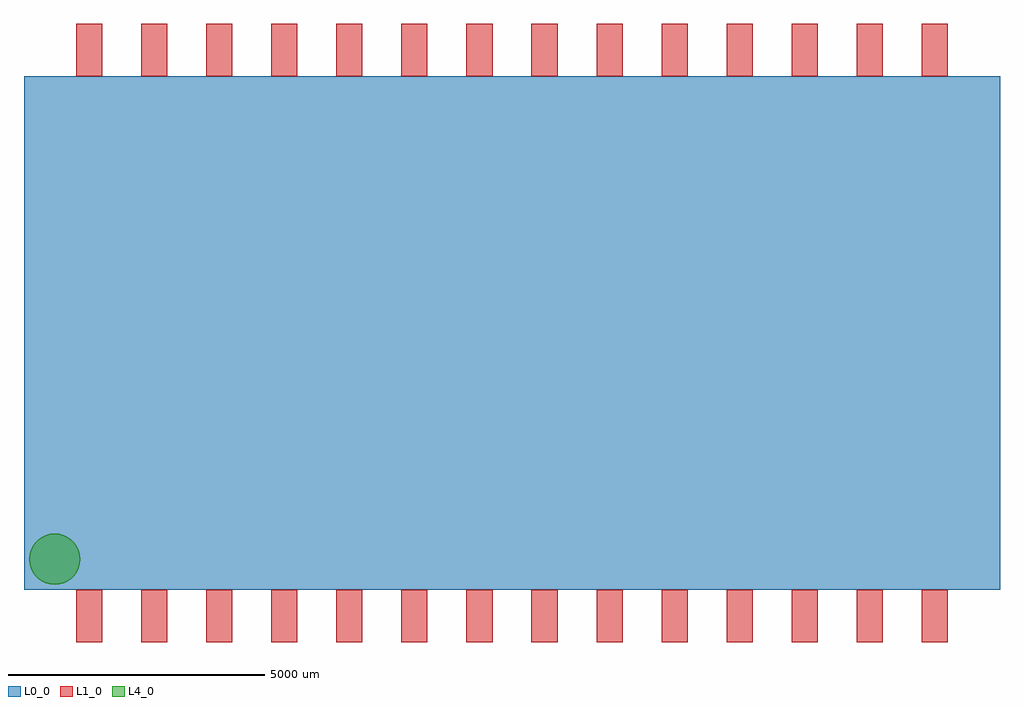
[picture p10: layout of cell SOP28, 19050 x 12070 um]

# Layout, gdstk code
import gdstk
lib = gdstk.Library(unit=1e-6, precision=1e-09)
def R(c, l, rs):  # rectangles x0, y0, x1, y1
    for r in rs: c.add(gdstk.rectangle(r[:2], r[2:], *l))
def A(c, l, x, y, w, h, nx, ny, dx, dy):  # array of equal rectangles
    R(c, l, [(x+i*dx, y+j*dy, x+i*dx+w, y+j*dy+h) for i in range(nx) for j in range(ny)])
def P(c, l, *ps):  # polygons
    for p in ps: c.add(gdstk.Polygon(p, *l))
L0_0 = (0, 0)
L1_0 = (1, 0)
L4_0 = (4, 0)
L99_1 = (99, 1)
L99_2 = (99, 2)
L99_3 = (99, 3)
L99_4 = (99, 4)
L99_5 = (99, 5)
L99_6 = (99, 6)
L99_7 = (99, 7)
L99_8 = (99, 8)
L99_9 = (99, 9)
L99_10 = (99, 10)
L99_11 = (99, 11)
L99_12 = (99, 12)
L99_13 = (99, 13)
L99_14 = (99, 14)
L99_15 = (99, 15)
L99_16 = (99, 16)
L99_17 = (99, 17)
L99_18 = (99, 18)
L99_19 = (99, 19)
L99_20 = (99, 20)
L99_21 = (99, 21)
L99_22 = (99, 22)
L99_23 = (99, 23)
L99_24 = (99, 24)
L99_25 = (99, 25)
L99_26 = (99, 26)
L99_27 = (99, 27)
L99_28 = (99, 28)

sop28 = lib.new_cell('SOP28')
R(sop28, L0_0, [(0,0,19050,10030)])
A(sop28, L1_0, 1015, -1020, 510, 1020, 14, 2, 1270, 11050)
P(sop28, L4_0, [(1100,600),(1092.404,513.176),(1069.846,428.99),(1033.013,350),(983.022,278.606),(921.394,216.978),(850,166.987),(771.01,130.154),(686.824,107.596),(600,100),(513.176,107.596),(428.99,130.154),(350,166.987),(278.606,216.978),(216.978,278.606),(166.987,350),(130.154,428.99),(107.596,513.176),(100,600),(107.596,686.824),(130.154,771.01),(166.987,850),(216.978,921.394),(278.606,983.022),(350,1033.013),(428.99,1069.846),(513.176,1092.404),(600,1100),(686.824,1092.404),(771.01,1069.846),(850,1033.013),(921.394,983.022),(983.022,921.394),(1033.013,850),(1069.846,771.01),(1092.404,686.824)])
sop28.add(gdstk.FlexPath([(1525,0),(1015,0)], 0, ends="round", simple_path=True, layer=99, datatype=1))  # L99_1
sop28.add(gdstk.FlexPath([(2795,0),(2285,0)], 0, ends="round", simple_path=True, layer=99, datatype=2))  # L99_2
sop28.add(gdstk.FlexPath([(4065,0),(3555,0)], 0, ends="round", simple_path=True, layer=99, datatype=3))  # L99_3
sop28.add(gdstk.FlexPath([(5335,0),(4825,0)], 0, ends="round", simple_path=True, layer=99, datatype=4))  # L99_4
sop28.add(gdstk.FlexPath([(6605,0),(6095,0)], 0, ends="round", simple_path=True, layer=99, datatype=5))  # L99_5
sop28.add(gdstk.FlexPath([(7875,0),(7365,0)], 0, ends="round", simple_path=True, layer=99, datatype=6))  # L99_6
sop28.add(gdstk.FlexPath([(9145,0),(8635,0)], 0, ends="round", simple_path=True, layer=99, datatype=7))  # L99_7
sop28.add(gdstk.FlexPath([(10415,0),(9905,0)], 0, ends="round", simple_path=True, layer=99, datatype=8))  # L99_8
sop28.add(gdstk.FlexPath([(11685,0),(11175,0)], 0, ends="round", simple_path=True, layer=99, datatype=9))  # L99_9
sop28.add(gdstk.FlexPath([(12955,0),(12445,0)], 0, ends="round", simple_path=True, layer=99, datatype=10))  # L99_10
sop28.add(gdstk.FlexPath([(14225,0),(13715,0)], 0, ends="round", simple_path=True, layer=99, datatype=11))  # L99_11
sop28.add(gdstk.FlexPath([(15495,0),(14985,0)], 0, ends="round", simple_path=True, layer=99, datatype=12))  # L99_12
sop28.add(gdstk.FlexPath([(16765,0),(16255,0)], 0, ends="round", simple_path=True, layer=99, datatype=13))  # L99_13
sop28.add(gdstk.FlexPath([(18035,0),(17525,0)], 0, ends="round", simple_path=True, layer=99, datatype=14))  # L99_14
sop28.add(gdstk.FlexPath([(1015,10030),(1525,10030)], 0, ends="round", simple_path=True, layer=99, datatype=28))  # L99_28
sop28.add(gdstk.FlexPath([(2285,10030),(2795,10030)], 0, ends="round", simple_path=True, layer=99, datatype=27))  # L99_27
sop28.add(gdstk.FlexPath([(3555,10030),(4065,10030)], 0, ends="round", simple_path=True, layer=99, datatype=26))  # L99_26
sop28.add(gdstk.FlexPath([(4825,10030),(5335,10030)], 0, ends="round", simple_path=True, layer=99, datatype=25))  # L99_25
sop28.add(gdstk.FlexPath([(6095,10030),(6605,10030)], 0, ends="round", simple_path=True, layer=99, datatype=24))  # L99_24
sop28.add(gdstk.FlexPath([(7365,10030),(7875,10030)], 0, ends="round", simple_path=True, layer=99, datatype=23))  # L99_23
sop28.add(gdstk.FlexPath([(8635,10030),(9145,10030)], 0, ends="round", simple_path=True, layer=99, datatype=22))  # L99_22
sop28.add(gdstk.FlexPath([(9905,10030),(10415,10030)], 0, ends="round", simple_path=True, layer=99, datatype=21))  # L99_21
sop28.add(gdstk.FlexPath([(11175,10030),(11685,10030)], 0, ends="round", simple_path=True, layer=99, datatype=20))  # L99_20
sop28.add(gdstk.FlexPath([(12445,10030),(12955,10030)], 0, ends="round", simple_path=True, layer=99, datatype=19))  # L99_19
sop28.add(gdstk.FlexPath([(13715,10030),(14225,10030)], 0, ends="round", simple_path=True, layer=99, datatype=18))  # L99_18
sop28.add(gdstk.FlexPath([(14985,10030),(15495,10030)], 0, ends="round", simple_path=True, layer=99, datatype=17))  # L99_17
sop28.add(gdstk.FlexPath([(16255,10030),(16765,10030)], 0, ends="round", simple_path=True, layer=99, datatype=16))  # L99_16
sop28.add(gdstk.FlexPath([(17525,10030),(18035,10030)], 0, ends="round", simple_path=True, layer=99, datatype=15))  # L99_15

lib.write_gds('SOP28.gds')
